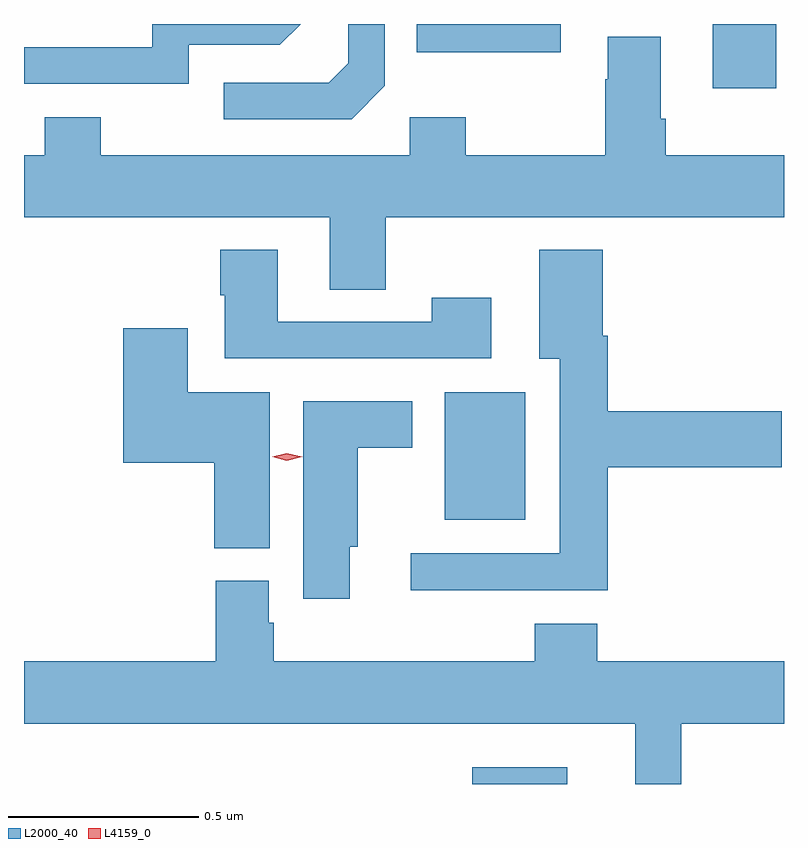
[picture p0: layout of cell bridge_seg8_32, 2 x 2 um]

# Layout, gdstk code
import gdstk
lib = gdstk.Library(unit=1e-6, precision=1e-09)
def R(c, l, rs):  # rectangles x0, y0, x1, y1
    for r in rs: c.add(gdstk.rectangle(r[:2], r[2:], *l))
def P(c, l, *ps):  # polygons
    for p in ps: c.add(gdstk.Polygon(p, *l))
L2000_40 = (2000, 40)
L4159_0 = (4159, 0)

bridge_seg8_32 = lib.new_cell('bridge_seg8_32')
R(bridge_seg8_32, L2000_40, [(1086.884,1150.973,1087.135,1151.017), (1086.812,1151.669,1087.024,1152.004), (1087.517,1152.804,1087.685,1152.973), (1086.739,1152.899,1087.117,1152.973)])
P(bridge_seg8_32, L2000_40, [(1086.138,1152.918),(1086.378,1152.918),(1086.433,1152.973),(1086.042,1152.973),(1086.042,1152.912),(1085.705,1152.912),(1085.705,1152.816),(1086.138,1152.816)],
  [(1086.654,1152.81),(1086.654,1152.973),(1086.558,1152.973),(1086.558,1152.87),(1086.507,1152.819),(1086.231,1152.819),(1086.231,1152.723),(1086.567,1152.723)],
  [(1086.657,1152.464),(1087.705,1152.464),(1087.705,1152.628),(1087.394,1152.628),(1087.394,1152.724),(1087.381,1152.724),(1087.381,1152.94),(1087.241,1152.94),(1087.241,1152.827),(1087.234,1152.827),(1087.234,1152.628),(1086.867,1152.628),(1086.867,1152.727),(1086.72,1152.727),(1086.72,1152.628),(1085.907,1152.628),(1085.907,1152.727),(1085.759,1152.727),(1085.759,1152.628),(1085.705,1152.628),(1085.705,1152.464),(1086.509,1152.464),(1086.509,1152.274),(1086.657,1152.274)],
  [(1086.934,1152.253),(1086.778,1152.253),(1086.778,1152.189),(1086.373,1152.189),(1086.373,1152.379),(1086.221,1152.379),(1086.221,1152.259),(1086.233,1152.259),(1086.233,1152.093),(1086.934,1152.093)],
  [(1087.241,1151.807),(1087.699,1151.807),(1087.699,1151.954),(1087.241,1151.954),(1087.241,1152.152),(1087.228,1152.152),(1087.228,1152.379),(1087.061,1152.379),(1087.061,1152.092),(1087.115,1152.092),(1087.115,1151.58),(1086.723,1151.58),(1086.723,1151.483),(1087.241,1151.483)],
  [(1086.352,1152.004),(1086.136,1152.004),(1086.136,1152.172),(1085.966,1152.172),(1085.966,1151.819),(1086.206,1151.819),(1086.206,1151.593),(1086.352,1151.593)],
  [(1086.562,1151.598),(1086.583,1151.598),(1086.583,1151.858),(1086.727,1151.858),(1086.727,1151.98),(1086.44,1151.98),(1086.44,1151.46),(1086.562,1151.46)],
  [(1087.435,1151.132),(1087.705,1151.132),(1087.705,1151.296),(1087.214,1151.296),(1087.214,1151.395),(1087.049,1151.395),(1087.049,1151.296),(1086.362,1151.296),(1086.362,1151.397),(1086.349,1151.397),(1086.349,1151.508),(1086.209,1151.508),(1086.209,1151.296),(1085.705,1151.296),(1085.705,1151.132),(1087.313,1151.132),(1087.313,1150.973),(1087.435,1150.973)])
P(bridge_seg8_32, L4159_0, [(1086.397,1151.824),(1086.358,1151.834),(1086.358,1151.834),(1086.358,1151.834),(1086.397,1151.844),(1086.437,1151.834),(1086.437,1151.834),(1086.437,1151.834)])

lib.write_gds('bridge_seg8_32.gds')
